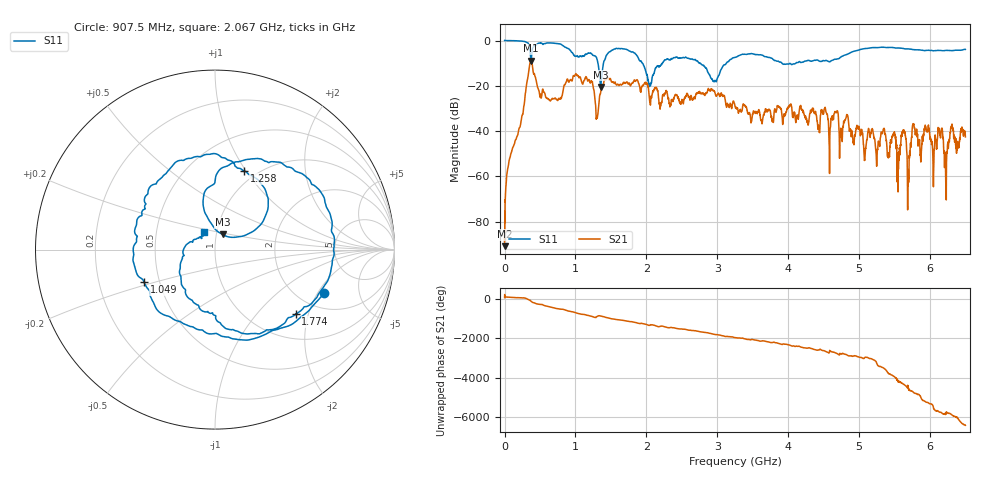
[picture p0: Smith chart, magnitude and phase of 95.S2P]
!Keysight Technologies,E5063A,MY54503115,A.05.08
!Date: Mon Dec 11 15:03:57 2023
!Data & Calibration Information:
!Freq	S11:NONE(--)	S21:NONE(--)	S12:NONE(--)	S22:NONE(--)
# Hz S dB R 50
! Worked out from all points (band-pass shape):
!   10001 points, 100 kHz to 6.5 GHz, reference 50 ohm
!   highest |S21| = -8.88 dB at 374.5 MHz (marker M1); lowest = -90.9 dB at 1.4 MHz (marker M2)
!   |S21| within 3 dB of the highest: 347.8 MHz to 395.1 MHz (47.33 MHz wide, 12.7 % of centre)
!   lowest |S11| = -20.5 dB at 1.354 GHz (marker M3), VSWR 1.21, Z = 53.7 + j9.12 ohm
!   |S11| at or under -10 dB: 1.945 GHz to 2.223 GHz (278.2 MHz wide, 13.3 % of centre); 2.761 GHz to 3.128 GHz (367.1 MHz wide, 12.5 % of centre); 3.912 GHz to 4.108 GHz (196.3 MHz wide, 4.9 % of centre) (the widest 3 of 5)
!   S12 and S22 are empty: the file has one direction only
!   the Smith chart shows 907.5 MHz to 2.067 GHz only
!   S11 on the Smith chart (normalised r, x): 907.5 MHz: 2.70, -2.27; 1.049 GHz: 0.41, -0.18; 1.258 GHz: 0.88, +0.98; 1.774 GHz: 1.55, -1.66; 2.067 GHz: 0.87, +0.17
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100000  0.05 -0.6  -88.75 63.6  -200.00 0.0  -200.00 0.0
1399980  0.00 -0.8  -90.90 -150.7  -200.00 0.0  -200.00 0.0
6.054907e7  -0.01 -19.6  -53.42 75.2  -200.00 0.0  -200.00 0.0
2.308464e8  -0.21 -76.7  -35.89 47.4  -200.00 0.0  -200.00 0.0
3.744942e8  -8.65 -117.9  -8.88 -133.6  -200.00 0.0  -200.00 0.0
5.792411e8  -1.25 168.8  -25.03 -8.8  -200.00 0.0  -200.00 0.0
7.280888e8  -1.26 96.6  -25.94 -136.4  -200.00 0.0  -200.00 0.0
9.07486e8  -3.70 -21.6  -18.41 88.7  -200.00 0.0  -200.00 0.0
1.049184e9  -7.25 -155.6  -16.48 -38.8  -200.00 0.0  -200.00 0.0
1.083633e9  -7.12 173.5  -18.07 -69.6  -200.00 0.0  -200.00 0.0
1.257831e9  -6.59 69.5  -21.54 148.7  -200.00 0.0  -200.00 0.0
1.354029e9  -20.49 63.0  -22.87 -156.2  -200.00 0.0  -200.00 0.0
1.502877e9  -4.48 54.8  -17.83 65.0  -200.00 0.0  -200.00 0.0
1.773923e9  -4.80 -38.5  -20.07 -83.5  -200.00 0.0  -200.00 0.0
2.067068e9  -18.78 122.0  -24.48 114.6  -200.00 0.0  -200.00 0.0
2.167167e9  -11.11 41.5  -23.97 19.5  -200.00 0.0  -200.00 0.0
2.964704e9  -17.59 -52.1  -22.72 -13.8  -200.00 0.0  -200.00 0.0
3.25005e9  -7.43 -51.2  -29.01 -176.1  -200.00 0.0  -200.00 0.0
4.333583e9  -9.06 -128.4  -31.15 -12.2  -200.00 0.0  -200.00 0.0
5.417117e9  -3.03 162.9  -50.71 162.4  -200.00 0.0  -200.00 0.0
6.226354e9  -4.33 118.0  -56.81 -27.3  -200.00 0.0  -200.00 0.0
6.5e9  -3.88 108.9  -42.60 58.7  -200.00 0.0  -200.00 0.0
